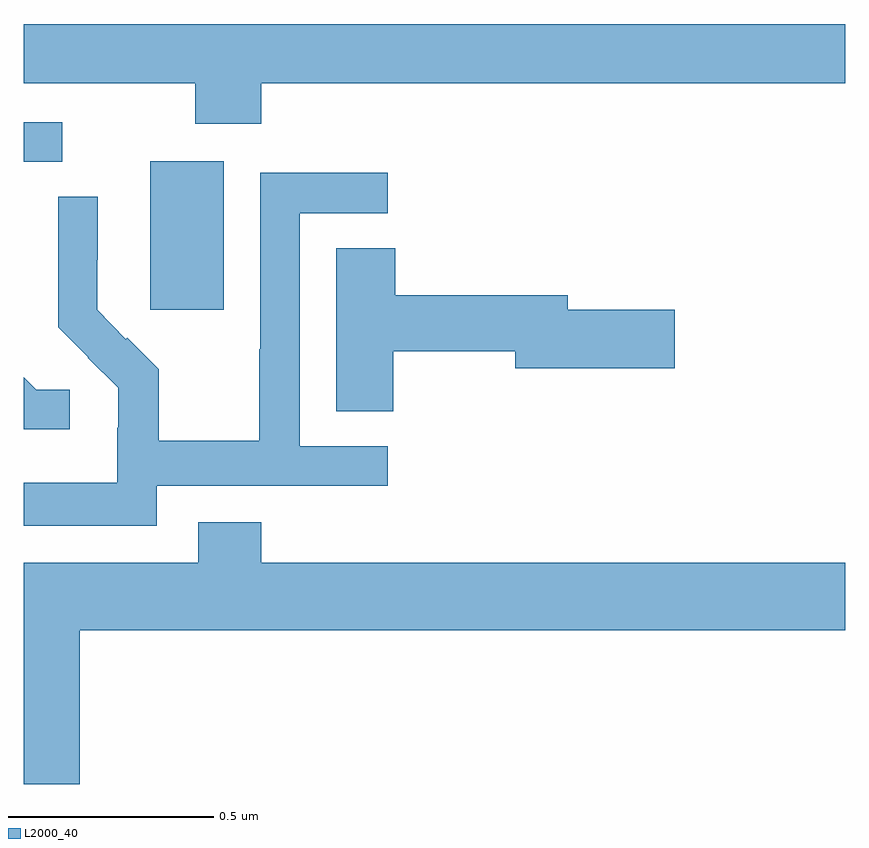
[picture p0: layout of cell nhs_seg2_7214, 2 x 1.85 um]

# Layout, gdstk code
import gdstk
lib = gdstk.Library(unit=1e-6, precision=1e-09)
def R(c, l, rs):  # rectangles x0, y0, x1, y1
    for r in rs: c.add(gdstk.rectangle(r[:2], r[2:], *l))
def P(c, l, *ps):  # polygons
    for p in ps: c.add(gdstk.Polygon(p, *l))
L2000_40 = (2000, 40)

nhs_seg2_7214 = lib.new_cell('nhs_seg2_7214')
R(nhs_seg2_7214, L2000_40, [(201.308,627.105,201.487,627.466), (201,627.465,201.094,627.561)])
P(nhs_seg2_7214, L2000_40, [(201.578,627.656),(203,627.656),(203,627.8),(201,627.8),(201,627.656),(201.418,627.656),(201.418,627.557),(201.578,627.557)],
  [(201.324,626.676),(201.886,626.676),(201.886,626.772),(201.672,626.772),(201.672,627.339),(201.886,627.339),(201.886,627.438),(201.576,627.438),(201.576,627.008),(201.574,627.008),(201.574,626.785),(201.329,626.785),(201.329,626.959),(201.252,627.036),(201.249,627.033),(201.179,627.104),(201.179,627.226),(201.18,627.226),(201.18,627.38),(201.084,627.38),(201.084,627.062),(201.157,626.989),(201.156,626.988),(201.23,626.914),(201.23,626.817),(201.228,626.817),(201.228,626.683),(201,626.683),(201,626.579),(201.324,626.579)],
  [(201.9,627.004),(202.196,627.004),(202.196,626.962),(202.585,626.962),(202.585,627.104),(202.324,627.104),(202.324,627.14),(201.905,627.14),(201.905,627.254),(201.761,627.254),(201.761,626.857),(201.9,626.857)],
  [(201.112,626.91),(201.03,626.91),(201,626.94),(201,626.813),(201.112,626.813)],
  [(201.136,626.324),(203,626.324),(203,626.488),(201.578,626.488),(201.578,626.587),(201.425,626.587),(201.425,626.488),(201,626.488),(201,625.95),(201.136,625.95)])

lib.write_gds('nhs_seg2_7214.gds')
